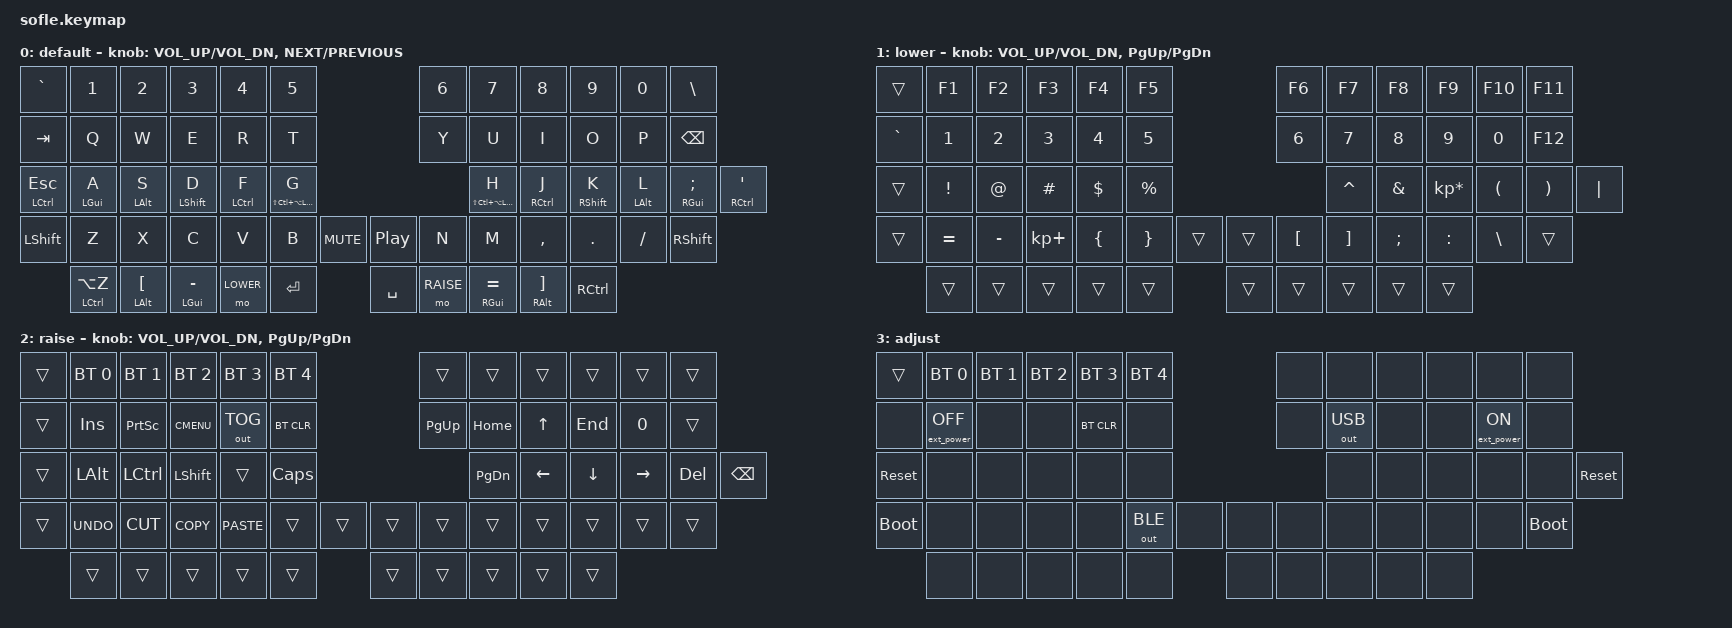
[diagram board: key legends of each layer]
/*
 * Copyright (c) 2020 The ZMK Contributors
 *
 * SPDX-License-Identifier: MIT
 */

#include <behaviors.dtsi>
#include <dt-bindings/zmk/keys.h>
#include <dt-bindings/zmk/bt.h>
#include <dt-bindings/zmk/rgb.h>
#include <dt-bindings/zmk/ext_power.h>
#include <dt-bindings/zmk/outputs.h>

#define BASE 0
#define LOWER 1
#define RAISE 2
#define ADJUST 3

// Hyper key shortcut
#define LHYP LS(LC(LA(LGUI)))

    // Tune trigger for encoders
    &sensors {
        triggers-per-rotation = <40>;
    };

/* Key positions, from https://github.com/sondrew/clean-zmk-config

  ╭────────────────────────────┬────────────────────────────╮
  │  0   1   2   3   4   5     │      6   7   8   9  10  11 │
  │ 12  13  14  15  16  17     │     18  19  20  21  22  23 │
  │ 24  25  26  27  28  29     │     30  31  32  33  34  35 │
  │ 36  37  38  39  40  41  42 │ 43  44  45  46  47  48  49 │
  ╰───────╮ 50  51  52  53  54 │ 55  56  57  58  59 ╭───────╯
          ╰────────────────────┴────────────────────╯        
*/

/ {

    behaviors {
        lhm: left_homerow_mods {
            compatible = "zmk,behavior-hold-tap";
            label = "left-homerow-mods";
            #binding-cells = <2>;
            flavor = "balanced";
            tapping-term-ms = <280>;
            quick-tap-ms = <175>;
            require-prior-idle-ms = <150>;
            global-quick-tap;
            bindings = <&kp>, <&kp>;
            hold-trigger-on-release;
            hold-trigger-key-positions = <6 7 8 9 10 11 18 19 20 21 22 23 30 31 32 33 34 35 43 44 45 46 47 48 49 55 56 57 58 59 50 51 52 53 54>;
        };
        lhms: left_homerow_mods_shift {
            compatible = "zmk,behavior-hold-tap";
            label = "left-homerow-mods-shift";
            #binding-cells = <2>;
            flavor = "balanced";
            tapping-term-ms = <200>;
            quick-tap-ms = <175>;
            require-prior-idle-ms = <150>;
            global-quick-tap;
            bindings = <&kp>, <&kp>;
            // hold-trigger-on-release;
            hold-trigger-key-positions = <6 7 8 9 10 11 18 19 20 21 22 23 30 31 32 33 34 35 43 44 45 46 47 48 49 55 56 57 58 59 50 51 52 53 54>;
        };
        rhm: right_homerow_mods {
            compatible = "zmk,behavior-hold-tap";
            label = "right-homerow-mods";
            #binding-cells = <2>;
            flavor = "balanced";
            tapping-term-ms = <280>;
            quick-tap-ms = <175>;
            require-prior-idle-ms = <150>;
            global-quick-tap;
            bindings = <&kp>, <&kp>;
            hold-trigger-on-release;
            hold-trigger-key-positions = <0 1 2 3 4 5 12 13 14 15 16 17 24 25 26 27 28 29 36 37 38 40 39 50 51 52 53 54 55 56 57 58 59 17 29 41 42>;
        };
        rhms: right_homerow_mods_shift {
            compatible = "zmk,behavior-hold-tap";
            label = "right-homerow-mods-shift";
            #binding-cells = <2>;
            flavor = "balanced";
            tapping-term-ms = <200>;
            quick-tap-ms = <175>;
            require-prior-idle-ms = <150>;
            global-quick-tap;
            bindings = <&kp>, <&kp>;
            // disabling for shift after https://github.com/infused-kim/zmk-config/blob/8c2cad1185afb594a502872441f11319433dc5e4/config/includes/behaviours_homerow_mods.dtsi#L65
            // hold-trigger-on-release;
            hold-trigger-key-positions = <0 1 2 3 4 5 12 13 14 15 16 17 24 25 26 27 28 29 36 37 38 40 39 50 51 52 53 54 55 56 57 58 59 17 29 41 42>;
        };
    };

   // Activate ADJUST layer by pressing raise and lower
    conditional_layers {
        compatible = "zmk,conditional-layers";
        adjust_layer {
            if-layers = <LOWER RAISE>;
            then-layer = <ADJUST>;
        };
    };

    keymap {
        compatible = "zmk,keymap";

        default_layer {
            label = "default";
// ------------------------------------------------------------------------------------------------------------
// |    `  |   1   |  2  |  3   |  4   |  5   |                   |  6   |  7    |  8    |  9   |   0   |   \   |
// |  TAB  |   Q   |  W  |  E   |  R   |  T   |                   |  Y   |  U    |  I    |  O   |   P   | BKSPC |
// | C/ESC |  G/A  | A/S | S/D  | C/F  |  G   |                   |  H   | C/J   | S/K   | A/L  |  G/;  |  C/'  |
// | SHIFT |   Z   |  X  |  C   |  V   |  B   |  MUTE  |  | PLAYP |  N   |  M    |  ,    |  .   |   /   | SHIFT |
//               |CTRL | ALT/[  |GUI/- | LOWER|  ENTER |  | SPACE | RAISE|GUI/=  | ALT/] |CTRL  |
            bindings = <
&kp GRAVE      &kp N1      &kp N2      &kp N3        &kp N4       &kp N5                           &kp N6       &kp N7      &kp N8     &kp N9     &kp N0         &kp BSLH
&kp TAB        &kp Q       &kp W       &kp E         &kp R        &kp T                            &kp Y        &kp U       &kp I      &kp O      &kp P          &kp BSPC
&mt LCTRL ESC  &lhm LGUI A &lhm LALT S &lhms LSHFT D &lhm LCTRL F &lhm LHYP G                  &rhm LHYP H  &rhm RCTRL J &rhms RSHFT K &rhm LALT L &rhm RGUI SEMI &mt RCTRL SQT
&kp LSHFT      &kp Z       &kp X       &kp C         &kp V        &kp B      &kp C_MUTE &kp C_PP   &kp N        &kp M          &kp COMMA &kp DOT  &kp FSLH &kp RSHFT
               &mt LCTRL LA(Z) &mt LALT LBKT &mt LGUI MINUS  &mo LOWER  &kp RET    &kp SPACE  &mo RAISE  &mt RGUI EQUAL &mt RALT RBKT  &kp RCTRL
            >;

            sensor-bindings = <&inc_dec_kp C_VOL_UP C_VOL_DN &inc_dec_kp C_NEXT C_PREVIOUS>;
        };

        lower_layer {
            label = "lower";
// TODO: Some binds are waiting for shifted keycode support.
// ------------------------------------------------------------------------------------------------------------
// |       |  F1 |  F2 |  F3  |  F4  |  F5  |                   |  F6  |  F7   |  F8   |  F9  |  F10  |  F11  |
// |   `   |  1  |  2  |  3   |  4   |  5   |                   |  6   |  7    |  8    |  9   |   0   |  F12  |
// |       |  !  |  @  |  #   |  $   |  %   |                   |  ^   |  &    |  *    |  (   |   )   |   |   |
// |       |  =  |  -  |  +   |  {   |  }   |        |  |       |  [   |  ]    |  ;    |  :   |   \   |       |
//               |     |      |      |      |        |  |       |      |       |       |      |
            bindings = <
&trans    &kp F1    &kp F2    &kp F3      &kp F4    &kp F5                    &kp F6    &kp F7   &kp F8          &kp F9    &kp F10   &kp F11
&kp GRAVE &kp N1    &kp N2    &kp N3      &kp N4    &kp N5                    &kp N6    &kp N7   &kp N8          &kp N9    &kp N0    &kp F12
&trans    &kp EXCL  &kp AT    &kp HASH    &kp DLLR  &kp PRCNT                 &kp CARET &kp AMPS &kp KP_MULTIPLY &kp LPAR  &kp RPAR  &kp PIPE
&trans    &kp EQUAL &kp MINUS &kp KP_PLUS &kp LBRC  &kp RBRC   &trans &trans  &kp LBKT  &kp RBKT &kp SEMI        &kp COLON &kp BSLH  &trans
                    &trans    &trans      &trans    &trans     &trans &trans  &trans    &trans   &trans          &trans
            >;

            sensor-bindings = <&inc_dec_kp C_VOL_UP C_VOL_DN &inc_dec_kp PG_UP PG_DN>;
        };

        raise_layer {
            label = "raise";
// -------------------------------------------------------------------------------------------------------------
// |       | BT1  | BT2  |  BT3  |  BT4  |  BT5  |                |      |      |       |      |       |       |
// |       | INS  | PSCR | GUI   | OTOG  | BTCLR |                | PGUP | HOME |   ^   |  END |       |       |
// |       | ALT  | CTRL | SHIFT |       | CAPS  |                | PGDN |   <- |   v   |  ->  |  DEL  | BKSPC |
// |       | UNDO | CUT  | COPY  | PASTE |       |      |  |      |      |      |       |      |       |       |
//                |      |       |       |       |      |  |      |      |      |       |      |
            bindings = <
&trans &bt BT_SEL 0 &bt BT_SEL 1 &bt BT_SEL 2 &bt BT_SEL 3 &bt BT_SEL 4                  &trans    &trans    &trans   &trans    &trans  &trans
&trans     &kp INS      &kp PSCRN    &kp K_CMENU  &out OUT_TOG &bt BT_CLR                    &kp PG_UP &kp HOME  &kp UP   &kp END   &kp N0  &trans
&trans     &kp LALT     &kp LCTRL    &kp LSHFT    &trans       &kp CLCK                      &kp PG_DN &kp LEFT  &kp DOWN &kp RIGHT &kp DEL &kp BSPC
&trans     &kp K_UNDO   &kp K_CUT    &kp K_COPY   &kp K_PASTE  &trans        &trans  &trans  &trans    &trans    &trans   &trans    &trans  &trans
                        &trans       &trans       &trans       &trans        &trans  &trans  &trans    &trans    &trans   &trans
            >;

            sensor-bindings = <&inc_dec_kp C_VOL_UP C_VOL_DN &inc_dec_kp PG_UP PG_DN>;
        };

        adjust_layer {
// -----------------------------------------------------------------------------------------------------------------------------
// |        |  BT1    |  BT2    |   BT3   |   BT4   |   BT5   |                  |      |      |       |      |        |       |
// |        |E_PWR OFF|         |         |  BTCLR  |         |                  |      |O_USB |       |      |E_PWR ON|       |
// | RESET  |         |         |         |         |         |                  |      |      |       |      |        | RESET |
// | BTLDR  |         |         |         |         | O_BLE   |         | |      |      |      |       |      |        | BTLDR |
//                    |         |         |         |         |         | |      |      |      |       |      |
            label = "adjust";
            bindings = <
&trans            &bt BT_SEL 0      &bt BT_SEL 1    &bt BT_SEL 2    &bt BT_SEL 3    &bt BT_SEL 4     &none &none        &none &none &none &none
&none             &ext_power EP_OFF &none           &none           &bt BT_CLR      &none            &none &out OUT_USB &none &none &ext_power EP_ON &none
&sys_reset        &none             &none           &none           &none           &none            &none &none        &none &none &none &sys_reset
&bootloader       &none             &none           &none           &none           &out OUT_BLE     &none &none        &none &none &none &none &none &bootloader
                                    &none           &none           &none           &none            &none &none        &none &none &none &none
            >;
        };

    };
};
